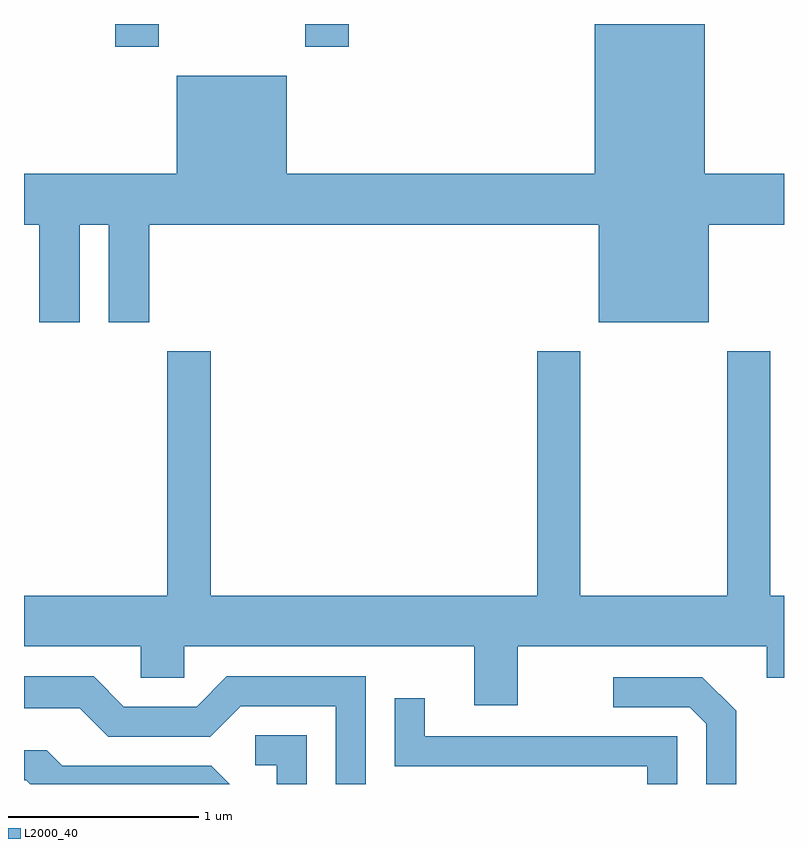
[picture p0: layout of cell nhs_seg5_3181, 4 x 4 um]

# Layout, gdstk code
import gdstk
lib = gdstk.Library(unit=1e-6, precision=1e-09)
def R(c, l, rs):  # rectangles x0, y0, x1, y1
    for r in rs: c.add(gdstk.rectangle(r[:2], r[2:], *l))
def P(c, l, *ps):  # polygons
    for p in ps: c.add(gdstk.Polygon(p, *l))
L2000_40 = (2000, 40)

nhs_seg5_3181 = lib.new_cell('nhs_seg5_3181')
R(nhs_seg5_3181, L2000_40, [(280.091,1459.951,280.319,1460.072), (281.091,1459.951,281.319,1460.072)])
P(nhs_seg5_3181, L2000_40, [(279.904,1459.016),(280.056,1459.016),(280.056,1458.501),(280.269,1458.501),(280.269,1459.016),(282.636,1459.016),(282.636,1458.501),(283.214,1458.501),(283.214,1459.016),(283.611,1459.016),(283.611,1459.284),(283.194,1459.284),(283.194,1460.072),(282.616,1460.072),(282.616,1459.284),(280.994,1459.284),(280.994,1459.799),(280.416,1459.799),(280.416,1459.284),(279.611,1459.284),(279.611,1459.016),(279.691,1459.016),(279.691,1458.501),(279.904,1458.501)],
  [(282.209,1456.796),(283.521,1456.796),(283.521,1456.631),(283.611,1456.631),(283.611,1457.064),(283.539,1457.064),(283.539,1458.349),(283.311,1458.349),(283.311,1457.064),(282.539,1457.064),(282.539,1458.349),(282.311,1458.349),(282.311,1457.064),(280.594,1457.064),(280.594,1458.349),(280.366,1458.349),(280.366,1457.064),(279.611,1457.064),(279.611,1456.796),(280.226,1456.796),(280.226,1456.631),(280.454,1456.631),(280.454,1456.796),(281.981,1456.796),(281.981,1456.486),(282.209,1456.486)],
  [(281.409,1456.639),(280.679,1456.639),(280.519,1456.479),(280.137,1456.479),(279.977,1456.639),(279.611,1456.639),(279.611,1456.471),(279.904,1456.471),(280.054,1456.321),(280.592,1456.321),(280.752,1456.481),(281.251,1456.481),(281.251,1456.072),(281.409,1456.072)],
  [(283.359,1456.457),(283.182,1456.634),(282.713,1456.634),(282.713,1456.476),(283.114,1456.476),(283.201,1456.389),(283.201,1456.072),(283.359,1456.072)],
  [(283.049,1456.324),(281.719,1456.324),(281.719,1456.523),(281.561,1456.523),(281.561,1456.166),(282.891,1456.166),(282.891,1456.072),(283.049,1456.072)],
  [(281.099,1456.329),(280.828,1456.329),(280.828,1456.171),(280.941,1456.171),(280.941,1456.072),(281.099,1456.072)],
  [(280.597,1456.169),(279.812,1456.169),(279.732,1456.249),(279.611,1456.249),(279.611,1456.091),(279.624,1456.091),(279.643,1456.072),(280.694,1456.072)])

lib.write_gds('nhs_seg5_3181.gds')
